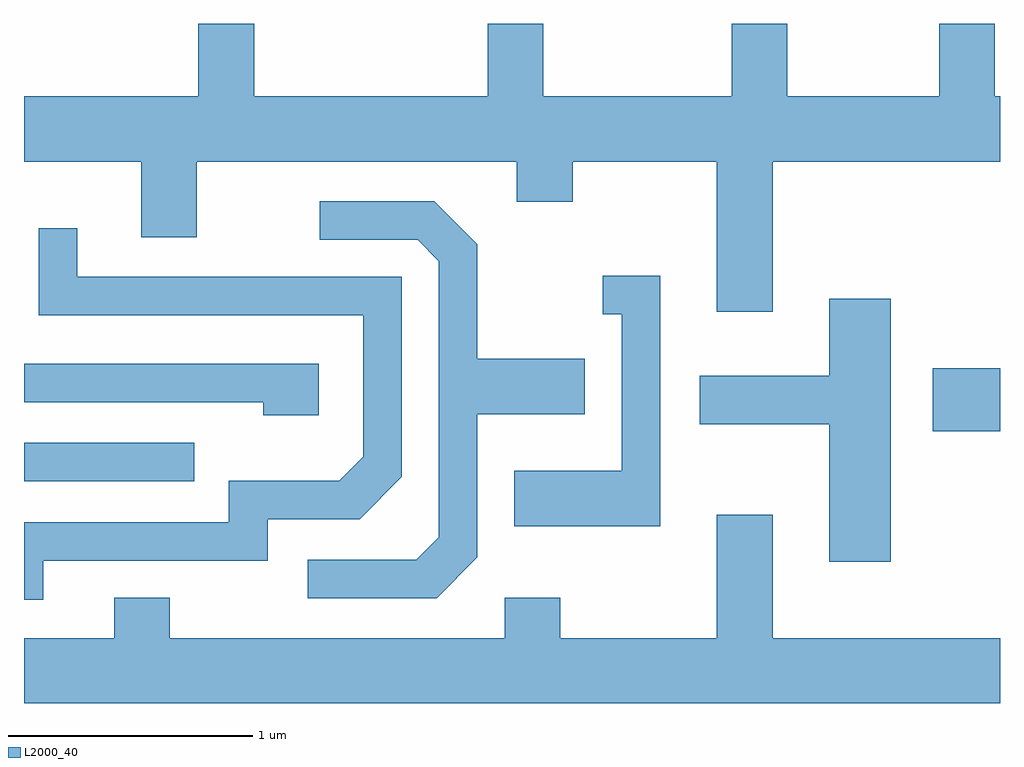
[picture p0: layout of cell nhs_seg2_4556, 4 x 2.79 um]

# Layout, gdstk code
import gdstk
lib = gdstk.Library(unit=1e-6, precision=1e-09)
def R(c, l, rs):  # rectangles x0, y0, x1, y1
    for r in rs: c.add(gdstk.rectangle(r[:2], r[2:], *l))
def P(c, l, *ps):  # polygons
    for p in ps: c.add(gdstk.Polygon(p, *l))
L2000_40 = (2000, 40)

nhs_seg2_4556 = lib.new_cell('nhs_seg2_4556')
R(nhs_seg2_4556, L2000_40, [(319.611,1015.926,320.308,1016.084), (323.336,1016.131,323.611,1016.389)])
P(nhs_seg2_4556, L2000_40, [(322.679,1017.236),(323.611,1017.236),(323.611,1017.504),(323.589,1017.504),(323.589,1017.802),(323.361,1017.802),(323.361,1017.504),(322.739,1017.504),(322.739,1017.802),(322.511,1017.802),(322.511,1017.504),(321.739,1017.504),(321.739,1017.802),(321.511,1017.802),(321.511,1017.504),(320.554,1017.504),(320.554,1017.802),(320.326,1017.802),(320.326,1017.504),(319.611,1017.504),(319.611,1017.236),(320.091,1017.236),(320.091,1016.926),(320.319,1016.926),(320.319,1017.236),(321.631,1017.236),(321.631,1017.071),(321.859,1017.071),(321.859,1017.236),(322.451,1017.236),(322.451,1016.621),(322.679,1016.621)],
  [(321.469,1015.614),(321.469,1016.201),(321.909,1016.201),(321.909,1016.429),(321.469,1016.429),(321.469,1016.897),(321.292,1017.074),(320.823,1017.074),(320.823,1016.916),(321.224,1016.916),(321.311,1016.829),(321.311,1015.697),(321.219,1015.604),(320.773,1015.604),(320.773,1015.446),(321.302,1015.446)],
  [(319.689,1015.601),(320.609,1015.601),(320.609,1015.771),(320.987,1015.771),(321.159,1015.944),(321.159,1016.764),(319.829,1016.764),(319.829,1016.963),(319.671,1016.963),(319.671,1016.606),(321.001,1016.606),(321.001,1016.027),(320.904,1015.929),(320.451,1015.929),(320.451,1015.759),(319.611,1015.759),(319.611,1015.441),(319.689,1015.441)],
  [(322.219,1016.769),(321.983,1016.769),(321.983,1016.611),(322.061,1016.611),(322.061,1015.969),(321.621,1015.969),(321.621,1015.741),(322.219,1015.741)],
  [(323.164,1016.674),(322.911,1016.674),(322.911,1016.359),(322.381,1016.359),(322.381,1016.161),(322.911,1016.161),(322.911,1015.596),(323.164,1015.596)],
  [(320.819,1016.409),(319.611,1016.409),(319.611,1016.251),(320.591,1016.251),(320.591,1016.196),(320.819,1016.196)],
  [(323.611,1015.284),(322.679,1015.284),(322.679,1015.789),(322.451,1015.789),(322.451,1015.284),(321.809,1015.284),(321.809,1015.449),(321.581,1015.449),(321.581,1015.284),(320.209,1015.284),(320.209,1015.449),(319.981,1015.449),(319.981,1015.284),(319.611,1015.284),(319.611,1015.016),(323.611,1015.016)])

lib.write_gds('nhs_seg2_4556.gds')
